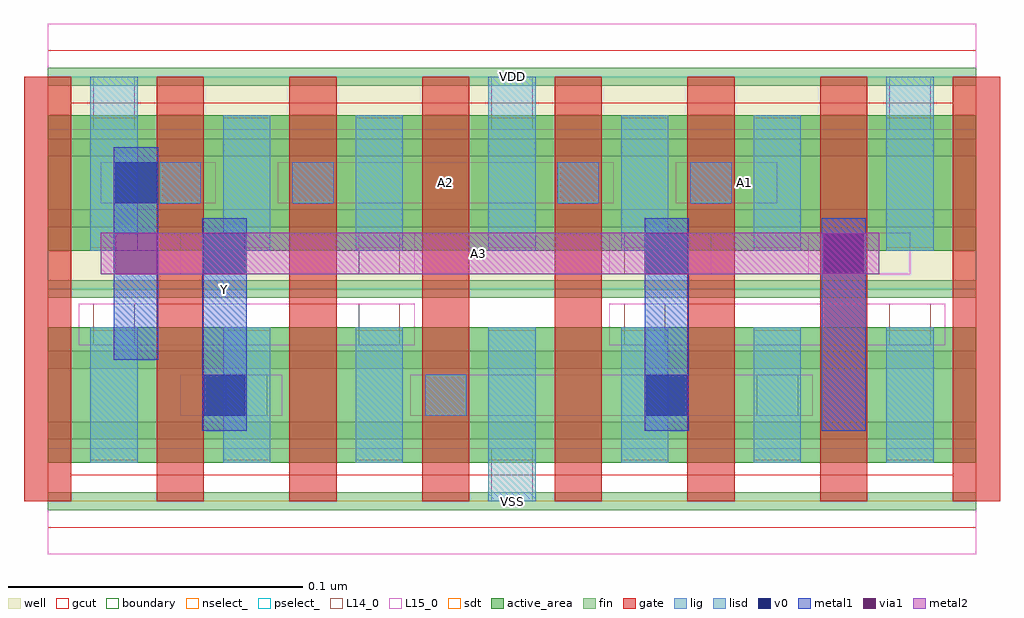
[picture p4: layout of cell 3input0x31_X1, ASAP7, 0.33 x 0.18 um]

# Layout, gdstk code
import gdstk
lib = gdstk.Library(unit=1e-6, precision=2.5e-10)
def R(c, l, rs):  # rectangles x0, y0, x1, y1
    for r in rs: c.add(gdstk.rectangle(r[:2], r[2:], *l))
def A(c, l, x, y, w, h, nx, ny, dx, dy):  # array of equal rectangles
    R(c, l, [(x+i*dx, y+j*dy, x+i*dx+w, y+j*dy+h) for i in range(nx) for j in range(ny)])
def P(c, l, *ps):  # polygons
    for p in ps: c.add(gdstk.Polygon(p, *l))
well = (1, 0)
fin = (2, 0)
gate = (7, 0)
gcut = (10, 0)
active_area = (11, 0)
nselect_ = (12, 0)
pselect_ = (13, 0)
L14_0 = (14, 0)
L15_0 = (15, 0)
lig = (16, 0)
lisd = (17, 0)
v0 = (18, 0)
metal1 = (19, 0)
metal2 = (20, 0)
via1 = (21, 0)
sdt = (88, 0)
boundary = (100, 0)

c_3input0x31_x1 = lib.new_cell('3input0x31_X1')
R(c_3input0x31_x1, well, [(0,0.072,0.315,0.144)])
A(c_3input0x31_x1, fin, 0, -0.003, 0.315, 0.006, 1, 7, 0, 0.024)
A(c_3input0x31_x1, gate, -0.008, 0, 0.016, 0.144, 8, 1, 0.045, 0)
P(c_3input0x31_x1, gcut, [(0,-0.009),(0,0),(-0.008,0),(-0.008,0.135),(0.008,0.135),(0.008,0.009),(0.307,0.009),(0.307,0.135),(-0.008,0.135),(-0.008,0.144),(0,0.144),(0,0.153),(0.315,0.153),(0.315,0.144),(0.323,0.144),(0.323,0),(0.315,0),(0.315,-0.009)])
R(c_3input0x31_x1, active_area, [(0,0.013,0.315,0.059), (0,0.085,0.315,0.131)])
R(c_3input0x31_x1, nselect_, [(0,0,0.315,0.072)])
R(c_3input0x31_x1, pselect_, [(0,0.072,0.315,0.144)])
A(c_3input0x31_x1, L14_0, 0.0155, 0.053, 0.014, 0.014, 4, 1, 0.09, 0)
A(c_3input0x31_x1, L14_0, 0.0155, 0.126, 0.014, 0.018, 3, 1, 0.135, 0)
R(c_3input0x31_x1, L14_0, [(0.1505,0,0.1645,0.018), (0.0605,0.029,0.0745,0.043), (0.128,0.029,0.142,0.043), (0.2405,0.029,0.2545,0.043), (0.1055,0.077,0.1195,0.091), (0.1955,0.077,0.2095,0.091), (0.263,0.077,0.277,0.091), (0.038,0.101,0.052,0.115), (0.083,0.101,0.097,0.115), (0.173,0.101,0.187,0.115), (0.218,0.101,0.232,0.115)])
R(c_3input0x31_x1, L15_0, [(0,-0.018,0.315,0.018), (0.045,0.029,0.0795,0.043), (0.123,0.029,0.2595,0.043), (0.0105,0.053,0.1245,0.067), (0.1905,0.053,0.3045,0.067), (0.045,0.077,0.1245,0.091), (0.1905,0.077,0.225,0.091), (0.258,0.077,0.2925,0.091), (0.018,0.101,0.057,0.115), (0.078,0.101,0.192,0.115), (0.213,0.101,0.2475,0.115), (0,0.126,0.315,0.162)])
R(c_3input0x31_x1, lig, [(0.128,0.029,0.142,0.043), (0.263,0.077,0.277,0.091), (0.038,0.101,0.052,0.115), (0.083,0.101,0.097,0.115), (0.173,0.101,0.187,0.115), (0.218,0.101,0.232,0.115)])
A(c_3input0x31_x1, lisd, 0.0145, 0.013, 0.016, 0.046, 3, 1, 0.045, 0)
A(c_3input0x31_x1, lisd, 0.1945, 0.013, 0.016, 0.046, 3, 1, 0.045, 0)
A(c_3input0x31_x1, lisd, 0.0145, 0.085, 0.016, 0.059, 3, 1, 0.135, 0)
R(c_3input0x31_x1, lisd, [(0.1495,0,0.1655,0.059), (0.0595,0.085,0.0755,0.131), (0.1045,0.085,0.1205,0.131), (0.1945,0.085,0.2105,0.131), (0.2395,0.085,0.2555,0.131)])
R(c_3input0x31_x1, v0, [(0.053,0.029,0.067,0.043), (0.203,0.029,0.217,0.043), (0.053,0.077,0.067,0.091), (0.203,0.077,0.217,0.091), (0.263,0.077,0.277,0.091), (0.023,0.101,0.037,0.115)])
R(c_3input0x31_x1, metal1, [(0.0525,0.024,0.0675,0.096), (0.2025,0.024,0.2175,0.096), (0.2625,0.024,0.2775,0.096), (0.0225,0.048,0.0375,0.12)])
R(c_3input0x31_x1, metal2, [(0.018,0.077,0.282,0.091)])
R(c_3input0x31_x1, via1, [(0.023,0.077,0.037,0.091), (0.263,0.077,0.277,0.091)])
A(c_3input0x31_x1, sdt, 0.0145, 0.014, 0.016, 0.044, 7, 2, 0.045, 0.072)
R(c_3input0x31_x1, boundary, [(0,0,0.315,0.144)])
c_3input0x31_x1.add(gdstk.Label('VSS', (0.1575,0), layer=15, texttype=251))
c_3input0x31_x1.add(gdstk.Label('VDD', (0.1575,0.144), layer=15, texttype=251))
c_3input0x31_x1.add(gdstk.Label('A1', (0.2363,0.108), layer=15, texttype=251))
c_3input0x31_x1.add(gdstk.Label('VSS', (0.1575,0), layer=15, texttype=251))
c_3input0x31_x1.add(gdstk.Label('VDD', (0.1575,0.144), layer=15, texttype=251))
c_3input0x31_x1.add(gdstk.Label('VSS', (0.1575,0), layer=15, texttype=251))
c_3input0x31_x1.add(gdstk.Label('VDD', (0.1575,0.144), layer=15, texttype=251))
c_3input0x31_x1.add(gdstk.Label('A2', (0.135,0.108), layer=15, texttype=251))
c_3input0x31_x1.add(gdstk.Label('VSS', (0.1575,0), layer=15, texttype=251))
c_3input0x31_x1.add(gdstk.Label('VDD', (0.1575,0.144), layer=15, texttype=251))
c_3input0x31_x1.add(gdstk.Label('VSS', (0.1575,0), layer=3, texttype=251))
c_3input0x31_x1.add(gdstk.Label('VSS', (0.1575,0), layer=3, texttype=251))
c_3input0x31_x1.add(gdstk.Label('VSS', (0.1575,0), layer=3, texttype=251))
c_3input0x31_x1.add(gdstk.Label('VSS', (0.1575,0), layer=3, texttype=251))
c_3input0x31_x1.add(gdstk.Label('VDD', (0.1575,0.144), layer=1, texttype=251))
c_3input0x31_x1.add(gdstk.Label('VDD', (0.1575,0.144), layer=1, texttype=251))
c_3input0x31_x1.add(gdstk.Label('VDD', (0.1575,0.144), layer=1, texttype=251))
c_3input0x31_x1.add(gdstk.Label('VDD', (0.1575,0.144), layer=1, texttype=251))
c_3input0x31_x1.add(gdstk.Label('Y', (0.06,0.072), layer=19, texttype=251))
c_3input0x31_x1.add(gdstk.Label('A3', (0.1463,0.084), layer=20, texttype=251))

lib.write_gds('3input0x31_X1.gds')
